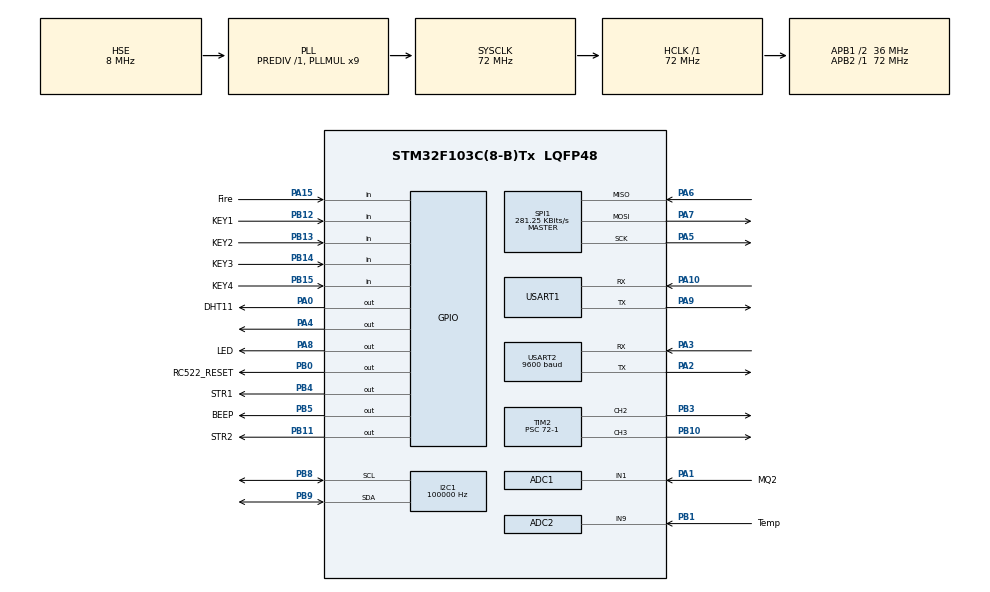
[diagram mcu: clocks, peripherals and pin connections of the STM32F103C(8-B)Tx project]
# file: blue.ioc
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ADC1.Channel-0\#ChannelRegularConversion=ADC_CHANNEL_1
ADC1.ContinuousConvMode=ENABLE
ADC1.EnableInjectedConversion=DISABLE
ADC1.InjNumberOfConversion=1
ADC1.NbrOfConversion=1
ADC1.NbrOfConversionFlag=1
ADC1.Rank-0\#ChannelRegularConversion=1
ADC1.SamplingTime-0\#ChannelRegularConversion=ADC_SAMPLETIME_55CYCLES_5
ADC1.master=1
ADC2.Channel-1\#ChannelRegularConversion=ADC_CHANNEL_9
ADC2.ContinuousConvMode=ENABLE
ADC2.EnableInjectedConversion=DISABLE
ADC2.InjNumberOfConversion=1
ADC2.NbrOfConversionFlag=1
ADC2.Rank-1\#ChannelRegularConversion=1
ADC2.SamplingTime-1\#ChannelRegularConversion=ADC_SAMPLETIME_55CYCLES_5
I2C1.ClockSpeed=100000
I2C1.I2C_Mode=I2C_Fast
Mcu.Family=STM32F1
Mcu.Name=STM32F103C(8-B)Tx
Mcu.Package=LQFP48
NVIC.PriorityGroup=NVIC_PRIORITYGROUP_4
NVIC.USART2_IRQn=true\:0\:0\:false\:false\:true\:true\:true\:true
PA0-WKUP.GPIO_Label=DHT11
PA0-WKUP.GPIO_Speed=GPIO_SPEED_FREQ_HIGH
PA0-WKUP.PinState=GPIO_PIN_SET
PA0-WKUP.Signal=GPIO_Output
PA1.GPIO_Label=MQ2
PA1.Signal=SharedAnalog_PA1
PA10.Mode=Asynchronous
PA10.Signal=USART1_RX
PA13.Mode=Serial_Wire
PA13.Signal=SYS_JTMS-SWDIO
PA14.Mode=Serial_Wire
PA14.Signal=SYS_JTCK-SWCLK
PA15.GPIO_Label=Fire
PA15.GPIO_PuPd=GPIO_PULLUP
PA15.Signal=GPIO_Input
PA2.Mode=Asynchronous
PA2.Signal=USART2_TX
PA3.Mode=Asynchronous
PA3.Signal=USART2_RX
PA4.Signal=GPIO_Output
PA5.Mode=Full_Duplex_Master
PA5.Signal=SPI1_SCK
PA6.Mode=Full_Duplex_Master
PA6.Signal=SPI1_MISO
PA7.Mode=Full_Duplex_Master
PA7.Signal=SPI1_MOSI
PA8.GPIO_Label=LED
PA8.GPIO_ModeDefaultOutputPP=GPIO_MODE_OUTPUT_PP
PA8.GPIO_PuPd=GPIO_PULLUP
PA8.PinState=GPIO_PIN_SET
PA8.Signal=GPIO_Output
PA9.Mode=Asynchronous
PA9.Signal=USART1_TX
PB0.GPIO_Label=RC522_RESET
PB0.Signal=GPIO_Output
PB1.GPIO_Label=Temp
PB1.Signal=SharedAnalog_PB1
PB10.Signal=S_TIM2_CH3
PB11.GPIO_Label=STR2
PB11.Signal=GPIO_Output
PB12.GPIO_Label=KEY1
PB12.GPIO_PuPd=GPIO_PULLUP
PB12.Signal=GPIO_Input
PB13.GPIO_Label=KEY2
PB13.GPIO_PuPd=GPIO_PULLUP
PB13.Signal=GPIO_Input
PB14.GPIO_Label=KEY3
PB14.GPIO_PuPd=GPIO_PULLUP
PB14.Signal=GPIO_Input
PB15.GPIO_Label=KEY4
PB15.GPIO_PuPd=GPIO_PULLUP
PB15.Signal=GPIO_Input
PB3.Signal=S_TIM2_CH2
PB4.GPIO_Label=STR1
PB4.Signal=GPIO_Output
PB5.GPIO_Label=BEEP
PB5.GPIO_PuPd=GPIO_PULLUP
PB5.GPIO_Speed=GPIO_SPEED_FREQ_LOW
PB5.PinState=GPIO_PIN_SET
PB5.Signal=GPIO_Output
PB8.Mode=I2C
PB8.Signal=I2C1_SCL
PB9.Mode=I2C
PB9.Signal=I2C1_SDA
PC14-OSC32_IN.Mode=LSE-External-Oscillator
PC14-OSC32_IN.Signal=RCC_OSC32_IN
PC15-OSC32_OUT.Mode=LSE-External-Oscillator
PC15-OSC32_OUT.Signal=RCC_OSC32_OUT
PD0-OSC_IN.Mode=HSE-External-Oscillator
PD0-OSC_IN.Signal=RCC_OSC_IN
PD1-OSC_OUT.Mode=HSE-External-Oscillator
PD1-OSC_OUT.Signal=RCC_OSC_OUT
ProjectManager.HeapSize=0x200
ProjectManager.StackSize=0x400
ProjectManager.TargetToolchain=MDK-ARM V5.32
RCC.ADCPresc=RCC_ADCPCLK2_DIV6
RCC.AHBFreq_Value=72000000
RCC.APB1CLKDivider=RCC_HCLK_DIV2
RCC.APB1Freq_Value=36000000
RCC.APB1TimFreq_Value=72000000
RCC.APB2Freq_Value=72000000
RCC.APB2TimFreq_Value=72000000
RCC.HCLKFreq_Value=72000000
RCC.PLLMUL=RCC_PLL_MUL9
RCC.PLLSourceVirtual=RCC_PLLSOURCE_HSE
RCC.SYSCLKFreq_VALUE=72000000
RCC.SYSCLKSource=RCC_SYSCLKSOURCE_PLLCLK
RCC.USBFreq_Value=72000000
SH.S_TIM2_CH2.0=TIM2_CH2,PWM Generation2 CH2
SH.S_TIM2_CH3.0=TIM2_CH3,PWM Generation3 CH3
SH.SharedAnalog_PA1.0=GPIO_Analog
SH.SharedAnalog_PA1.1=ADC1_IN1,IN1
SH.SharedAnalog_PB1.0=GPIO_Analog
SH.SharedAnalog_PB1.1=ADC1_IN9
SH.SharedAnalog_PB1.2=ADC2_IN9,IN9
SPI1.BaudRatePrescaler=SPI_BAUDRATEPRESCALER_256
SPI1.CalculateBaudRate=281.25 KBits/s
SPI1.Direction=SPI_DIRECTION_2LINES
SPI1.Mode=SPI_MODE_MASTER
SPI1.VirtualType=VM_MASTER
TIM2.AutoReloadPreload=TIM_AUTORELOAD_PRELOAD_ENABLE
TIM2.Channel-PWM\ Generation2\ CH2=TIM_CHANNEL_2
TIM2.Channel-PWM\ Generation3\ CH3=TIM_CHANNEL_3
TIM2.Period=1000-1
TIM2.Prescaler=72-1
TIM2.Pulse-PWM\ Generation2\ CH2=1000
USART1.VirtualMode=VM_ASYNC
USART2.BaudRate=9600
USART2.VirtualMode=VM_ASYNC
board=custom

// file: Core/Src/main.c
/* USER CODE BEGIN Header */
/**
  ******************************************************************************
  * @file           : main.c
  * @brief          : Main program body
  ******************************************************************************
  * @attention
  *
  * Copyright (c) 2025 STMicroelectronics.
  * All rights reserved.
  *
  * This software is licensed under terms that can be found in the LICENSE file
  * in the root directory of this software component.
  * If no LICENSE file comes with this software, it is provided AS-IS.
  *
  ******************************************************************************
  */
/* USER CODE END Header */
#include "main.h"
#include "adc.h"
#include "i2c.h"
#include "spi.h"
#include "tim.h"
#include "usart.h"
#include "gpio.h"

/* USER CODE BEGIN Includes */
#include "usart1.h"
#include "oled.h"
#include "delay.h"
#include "dht11.h"
#include "mq2.h"
#include "string.h"
#include "RC522.h"
#include "step_motor.h"
#include "Fire.h"
#include "key.h"
/* USER CODE END Includes */

/* USER CODE BEGIN PTD */
void USART_ParseCommand(void);
uint8_t RFID_GetCardID(uint8_t *card_id_buf);
void Process_RFID(void);
void Fire_police(void);
void USART_Test_Send(void);
void USART_SendString(const char *str);
void UART_BLE(void);
/* USER CODE END PTD */

void SystemClock_Config(void);

/* USER CODE BEGIN 0 */
volatile uint8_t flag_beep = 255;
//volatile uint16_t beep_timer = 0;
volatile uint8_t flag_led = 255;
volatile uint8_t flag_motor = 255;
volatile uint8_t flag_speed = 255;
volatile uint8_t flag_bee = 255;
// 目标卡号（可根据你的卡替换实际UID）
uint8_t valid_card_ids[2][4] = {
    {0xB4, 0xB0, 0x7A, 0x05},  // 卡1
    {0xF4, 0xA7, 0x89, 0x3F}   // 卡2
};
//uint8_t Card_Type1[2];
//uint8_t Card_ID[4];
//uint8_t Card_KEY[6] = {0xff,0xff,0xff,0xff,0xff,0xff};    //{0x11,0x11,0x11,0x11,0x11,0x11};   //?ü??
//uint8_t Card_Data[16];
//uint8_t status;
/* USER CODE END 0 */

int main(void)
{

  /* MCU Configuration--------------------------------------------------------*/

  /* Reset of all peripherals, Initializes the Flash interface and the Systick. */
  HAL_Init();

  /* Configure the system clock */
  SystemClock_Config();

  /* USER CODE BEGIN SysInit */
		delay_init(72);

  /* USER CODE END SysInit */

  /* Initialize all configured peripherals */
  MX_GPIO_Init();
  MX_I2C1_Init();
  MX_ADC1_Init();
  MX_SPI1_Init();
  MX_ADC2_Init();
  MX_TIM2_Init();
  MX_USART1_UART_Init();
  MX_USART2_UART_Init();
  /* USER CODE BEGIN 2 */

		/*启动定时器通道2，通道3*/
		HAL_TIM_PWM_Start(&htim2, TIM_CHANNEL_2);
		HAL_TIM_PWM_Start(&htim2, TIM_CHANNEL_3);
		PcdReset();		//复位天线
		PcdAntennaOff(); //关闭天线
		delay_ms(100);
		PcdAntennaOn();//打开天线

//		tx_buff = ["adcf"];
		OLED_Init();
		OLED_Clear();
		char buf_tem[10];
		char buf_hum[10];
		char buf_mq2[10];
//		char buf_fire[10];
    float hum = 0;
		uint8_t key = 0;
		static uint8_t key_state = 255;
  /* USER CODE END 2 */

  /* Infinite loop */
  while (1)
  {

    /* USER CODE BEGIN 3 */
		//////////////////////////////////////////
		//ID卡调整
		HAL_Delay(10);
		Process_RFID();
		//////////////////////////////////////////
//		printf("HHH\r\n");
//			USART_Test_Send();
		/*语音模块调整,蓝牙函数，跳转函数进入即可*/
		USART_ParseCommand();
		UART_BLE();

		/*串口接收后置标志位后执行*/
		if(flag_led  == 1)
		{
			LED_on();
//			HAL_Delay(3000);
			flag_led = 255;
		}else if(flag_led == 0 )LED_off();

		if(flag_motor == 1)
		{
				step_motor1_on();
				flag_motor = 255;
		}else if(flag_motor == 0)
		step_motor1_off();
		flag_motor = 255;

		if(flag_bee == 1)
		{
				beep_on();

		}else if(flag_bee == 0)
		beep_off();
		//开关门标志位记得重置，不然会出现一直转的现象

		if(flag_speed == 1)
		{
			step_motor2_on();
		}else if(flag_speed == 0)step_motor2_off();
		/*  end  */

		/*按键检测调整*/
		key = key_scan(0);
		switch(key)
		{
			case KEY1_PRES:
				LED_on();
				delay_ms(1000);
				break;
			case KEY2_PRES:
				step_motor1_on();
				delay_ms(500);
				step_motor1_off();
				break;
			case KEY3_PRES:
					step_motor2_on();
			break;
			case KEY4_PRES:
				LED_off();
				step_motor2_off();
				break;
			default:
				break;
		}

		/*显示部分*/

		/*温湿度调整*/

		DHT11_Read_Data();
    hum = Get_humidity();
    if(hum > 80.0)
    {
      beep_on();
    }
		else beep_off();

		/*OLED显示入口*/

//		sprintf(buf_fire,"%d",Get_Fire_Percentage_value());
		sprintf(buf_tem,"%.2f",Get_temperature());
		sprintf(buf_hum,"%.2f",hum);
		sprintf(buf_mq2,"%d",Get_MQ2_Percentage_value());
		OLED_ShowString(0,8,(uint8_t*)"Tem:",12,1);//6*12 “ABC”
		OLED_ShowString(0,20,(uint8_t*)"Hum:",12,1);//6*12 “ABC”
		OLED_ShowString(0,32,(uint8_t*)"mq:",12,1);//6*12 “ABC”
//		OLED_ShowString(0,44,(uint8_t*)"fire:",12,1);//6*12 “ABC
//
		OLED_ShowString(32,8,(uint8_t*)buf_tem,12,1);//温度数据
		OLED_ShowString(32,20,(uint8_t*)buf_hum,12,1);//湿度数据
		OLED_ShowString(32,32,(uint8_t*)buf_mq2,12,1);//气体数据
//		OLED_ShowString(32,44,(uint8_t*)buf_fire,12,1);//adc数据
		OLED_Refresh();

		/*  end  */

		/*火灾显示函数入口*/
		Fire_police();
		/**/

		/*  蓝牙发送程序入口 */
		char msg[64];
		sprintf(msg, "Temp:%.1fC    Hum:%.1f%%    MQ2:%d   Fire:%d     \r\n",
				Get_temperature(), Get_humidity(), Get_MQ2_Percentage_value(), Fire_get());
		HAL_UART_Transmit(&huart2, (uint8_t *)msg, strlen(msg), 100);

		/*     end         */
  }
  /* USER CODE END 3 */
}

void SystemClock_Config(void)
{
  RCC_OscInitTypeDef RCC_OscInitStruct = {0};
  RCC_ClkInitTypeDef RCC_ClkInitStruct = {0};
  RCC_PeriphCLKInitTypeDef PeriphClkInit = {0};

  /** Initializes the RCC Oscillators according to the specified parameters
  * in the RCC_OscInitTypeDef structure.
  */
  RCC_OscInitStruct.OscillatorType = RCC_OSCILLATORTYPE_HSE;
  RCC_OscInitStruct.HSEState = RCC_HSE_ON;
  RCC_OscInitStruct.HSEPredivValue = RCC_HSE_PREDIV_DIV1;
  RCC_OscInitStruct.HSIState = RCC_HSI_ON;
  RCC_OscInitStruct.PLL.PLLState = RCC_PLL_ON;
  RCC_OscInitStruct.PLL.PLLSource = RCC_PLLSOURCE_HSE;
  RCC_OscInitStruct.PLL.PLLMUL = RCC_PLL_MUL9;
  if (HAL_RCC_OscConfig(&RCC_OscInitStruct) != HAL_OK)
  {
    Error_Handler();
  }

  /** Initializes the CPU, AHB and APB buses clocks
  */
  RCC_ClkInitStruct.ClockType = RCC_CLOCKTYPE_HCLK|RCC_CLOCKTYPE_SYSCLK
                              |RCC_CLOCKTYPE_PCLK1|RCC_CLOCKTYPE_PCLK2;
  RCC_ClkInitStruct.SYSCLKSource = RCC_SYSCLKSOURCE_PLLCLK;
  RCC_ClkInitStruct.AHBCLKDivider = RCC_SYSCLK_DIV1;
  RCC_ClkInitStruct.APB1CLKDivider = RCC_HCLK_DIV2;
  RCC_ClkInitStruct.APB2CLKDivider = RCC_HCLK_DIV1;

  if (HAL_RCC_ClockConfig(&RCC_ClkInitStruct, FLASH_LATENCY_2) != HAL_OK)
  {
    Error_Handler();
  }
  PeriphClkInit.PeriphClockSelection = RCC_PERIPHCLK_ADC;
  PeriphClkInit.AdcClockSelection = RCC_ADCPCLK2_DIV6;
  if (HAL_RCCEx_PeriphCLKConfig(&PeriphClkInit) != HAL_OK)
  {
    Error_Handler();
  }
}

/* USER CODE BEGIN 4 */

void USART_Test_Send(void)
{
    char test_msg[] = "USART\r\n";

    // 调用 HAL 库的发送函数，阻塞模式
    if (HAL_UART_Transmit(&huart2, (uint8_t *)test_msg, strlen(test_msg), 1000) == HAL_OK)
    {
        // 成功发送
    }
    else
    {
        // 发送失败
        // 你可以点亮LED、重试或做错误处理
    }
}
/**
*@brief 语音控制函数
*@para  无
*@retval 无
**/
void USART_ParseCommand(void)
{
		char *cmd = (char *)g_usart_rx_buf;

			if(strncmp(cmd,"ledon",5) == 0)
		{
				flag_led = 1;

		}

		else if(strncmp(cmd,"ledoff",6) == 0)
		{

				flag_led = 0;
		}

		else if(strncmp(cmd,"motoron",7) == 0)
		{
				flag_motor = 1;
		}

		else if(strncmp(cmd,"motoroff",8) == 0)
		{
				flag_motor = 0;
		}

		else if(strncmp(cmd,"speedon",7) == 0)
		{
				flag_speed = 1;
		}
		else if(strncmp(cmd,"speedoff",8) == 0)
		{
				flag_speed = 0;
		}

		g_usart_rx_sta = 0;
		memset(g_usart_rx_buf, 0, sizeof(g_usart_rx_buf));
		HAL_UART_Receive_IT(&huart1, g_rx_buffer, 1);
}

/**
*@brief  蓝牙获取函数
*@para
*@revtal
*/
void UART_BLE(void)
{
char *cmd = (char *)g_usart2_rx_buf;

		static uint8_t state_1 = 0;
		static uint8_t state_2 = 0;
		static uint8_t state_3 = 0;
		static uint8_t state_4 = 0;

			if(strncmp(cmd,"lighton",7) == 0)
		{
				flag_led = 1;
				state_1++;
				if(state_1 == 2)
				{
						flag_led = 0;
						state_1 = 0;
				}
		}

		else if(strncmp(cmd,"airon",5) == 0)
		{
				flag_motor = 1;
				state_2++;
				if(state_2 == 2)
				{
						flag_motor = 0;
						state_2 = 0;
				}
		}

		else if(strncmp(cmd,"fengon",6) == 0)
		{
				flag_speed = 1;
				state_3++;
				if(state_3 == 2)
				{
						flag_speed = 0;
						state_3 = 0;
				}
		}

		else if(strncmp(cmd,"beeon",5) == 0)
		{
				flag_bee = 1;
				state_4++;
				if(state_4 == 2)
				{
						flag_bee = 0;
						state_4 = 0;
				}
		}

		g_usart2_rx_sta = 0;
		memset(g_usart2_rx_buf, 0, sizeof(g_usart2_rx_buf));
		HAL_UART_Receive_IT(&huart2, g_rx2_buffer, 1);

}

/**
*@brief ID卡获取函数
*@para  无
*@retval 无
**/
uint8_t RFID_GetCardID(uint8_t *card_id_buf)
{
    uint8_t status;
    uint8_t Card_Type1[2];
    uint8_t Card_ID[4];
    uint8_t Card_KEY[6] = {0xFF, 0xFF, 0xFF, 0xFF, 0xFF, 0xFF};  // 默认KEY A
		Card_Type1[0]=0x04;
		Card_Type1[1]=0x00;
    // 寻卡
    if (PcdRequest(0x52, Card_Type1) != MI_OK)
        return 0;

    // 防冲突
    status = PcdAnticoll(Card_ID);
    if (status != MI_OK)
        return 0;

    // 选卡
    status = PcdSelect(Card_ID);
    if (status != MI_OK)
        return 0;

    // 验证密码（两次看似多余，你可留一次，部分代码重复了）
    status = PcdAuthState(PICC_AUTHENT1A, 5, Card_KEY, Card_ID);
    if (status != MI_OK)
        return 0;

    // 成功，复制卡号
    memcpy(card_id_buf, Card_ID, 4);

    // 休眠卡片
    PcdHalt();

    return 1;
}

uint8_t Is_Valid_Card(uint8_t *card_uid)
{
    for (int i = 0; i < 2; i++)
    {
        if (memcmp(card_uid, valid_card_ids[i], 4) == 0)
            return 1;  // 匹配
    }
    return 0;  // 未匹配
}

/**
*@brief ID卡判定函数
*@para  无
*@rel 无
**/
void Process_RFID(void)
{
    static uint8_t last_card[4] = {0};
    static uint32_t last_detect_time = 0;
    uint8_t card_uid[4];

    if (RFID_GetCardID(card_uid))
    {
        // 简单防抖：3秒内不重复识别同一张卡
        if (memcmp(card_uid, last_card, 4) == 0 &&
            HAL_GetTick() - last_detect_time < 1000)
        {
            return;  // 忽略重复刷卡
        }

				//        memcpy(last_card, card_uid, 4);  //恢复可防止重复刷卡
        last_detect_time = HAL_GetTick();

//        printf("Card ID: %02X%02X%02X%02X\r\n", card_uid[0], card_uid[1], card_uid[2], card_uid[3]);

        if (Is_Valid_Card(card_uid))
        {
//            printf(">>> Valid card detected! Starting motor...\r\n");
					step_motor1_on();  // 电机1启动函数
//						HAL_Delay(100);
						beep_on();
						delay_ms(100);
						beep_off();
					USART_SendString("come");
					delay_ms(1000);
					step_motor1_off();

        }
        else
        {
//            printf("Unrecognized card.\r\n");
        }
    }
}

void Fire_police(void)
{
		if(Fire_get() == 0)
		{
			beep_on();
		}else beep_off();

}

/**
 * @brief 通用 USART1 字符串发送函数（阻塞方式）
 * @param str 要发送的字符串
 * @retval None
 */
void USART_SendString(const char *str)
{
    if (str == NULL) return;  // 防止空指针

    // 使用 HAL 库发送字符串，阻塞直到发送完成
    if (HAL_UART_Transmit(&huart1, (uint8_t *)str, strlen(str), 1000) != HAL_OK)
    {
        // 发送失败处理（可加 LED 提示或记录错误）
    }
}

/* USER CODE END 4 */

void Error_Handler(void)
{
  __disable_irq();
  while (1)
  {
  }
}
